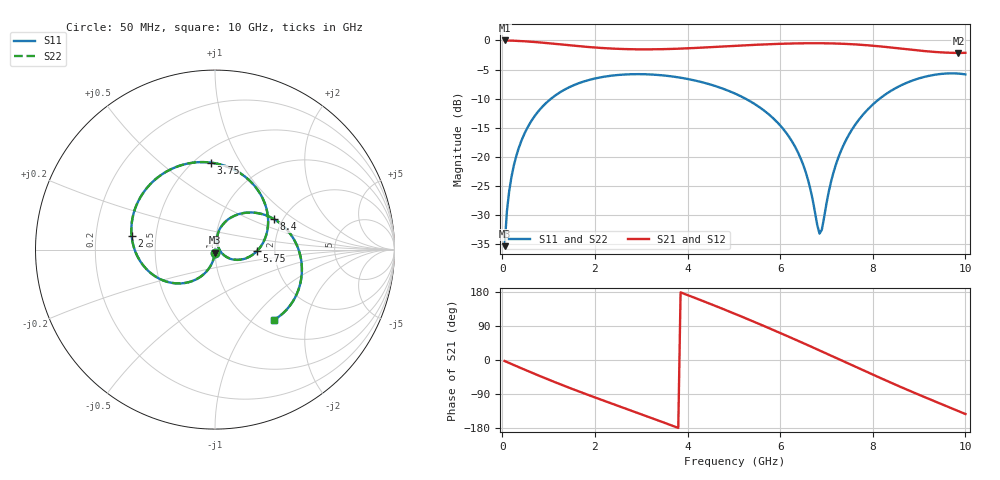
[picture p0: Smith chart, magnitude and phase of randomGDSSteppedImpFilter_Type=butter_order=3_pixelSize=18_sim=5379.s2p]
! freq	dB(S11)	phase(S11)	dB(S12)	phase(S12)
!  dB(S21)	phase(S21)	dB(S22)	phase(S22)
!S-par simulation data
#  GHz  S  DB  R 50
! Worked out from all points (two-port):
!   200 points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, 50 MHz to 10 GHz, reference 50 ohm
!   highest |S21| = -0.01 dB at 50 MHz (marker M1); lowest = -2.1 dB at 9.85 GHz (marker M2)
!   |S21| within 3 dB of the highest: start of sweep to end of sweep
!   lowest |S11| = -35.3 dB at 50 MHz (marker M3), VSWR 1.03, Z = 49.9 - j1.71 ohm
!   |S11| at or under -10 dB: start of sweep to 1.054 GHz; 5.251 GHz to 8.149 GHz (2.899 GHz wide, 43.3 % of centre)
!   |S22| runs from -35.3 to -5.7 dB; largest |S21 - S12| = 0
!   S11 on the Smith chart (normalised r, x): 50 MHz: 1.00, -0.03; 2 GHz: 0.36, +0.07; 3.75 GHz: 0.60, +0.76; 5.75 GHz: 1.61, -0.03; 8.4 GHz: 1.80, +0.71; 10 GHz: 1.22, -1.29
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0.05  -35.33 -92.6  -0.01 -2.7  -0.01 -2.7  -35.33 -92.6
0.1  -29.32 -95.5  -0.01 -5.4  -0.01 -5.4  -29.32 -95.5
0.2  -23.35 -101.0  -0.04 -10.7  -0.04 -10.7  -23.35 -101.0
0.5  -15.66 -117.0  -0.16 -26.4  -0.16 -26.4  -15.66 -117.0
1.1  -9.71 -147.3  -0.56 -56.7  -0.56 -56.7  -9.71 -147.3
1.75  -7.08 -178.0  -1.06 -87.4  -1.06 -87.4  -7.08 -178.0
2  -6.54 170.6  -1.22 -98.8  -1.22 -98.8  -6.54 170.6
3.4  -5.96 108.6  -1.51 -161.0  -1.51 -161.0  -5.96 108.6
3.75  -6.28 92.8  -1.44 -177.0  -1.44 -177.0  -6.28 92.8
4.4  -7.36 62.7  -1.20 152.5  -1.20 152.5  -7.36 62.7
5.05  -9.21 31.6  -0.92 120.5  -0.92 120.5  -9.21 31.6
5.75  -12.66 -2.3  -0.66 84.6  -0.66 84.6  -12.66 -2.2
6.35  -18.68 -28.5  -0.51 52.6  -0.51 52.6  -18.67 -28.1
6.7  -27.27 -27.7  -0.48 33.5  -0.48 33.5  -27.21 -26.9
6.85  -33.18 17.2  -0.48 25.3  -0.48 25.3  -32.90 17.5
7.15  -22.72 80.4  -0.52 8.7  -0.52 8.7  -22.69 79.8
7.4  -17.46 74.8  -0.59 -5.2  -0.59 -5.2  -17.45 74.5
8.35  -8.87 29.8  -1.18 -57.6  -1.18 -57.6  -8.87 29.6
8.4  -8.62 27.3  -1.22 -60.3  -1.22 -60.3  -8.62 27.1
9.05  -6.40 -4.9  -1.78 -94.4  -1.78 -94.4  -6.40 -5.0
9.85  -5.70 -43.0  -2.15 -134.8  -2.15 -134.8  -5.70 -43.1
10  -5.83 -50.1  -2.13 -142.5  -2.13 -142.5  -5.83 -50.2
